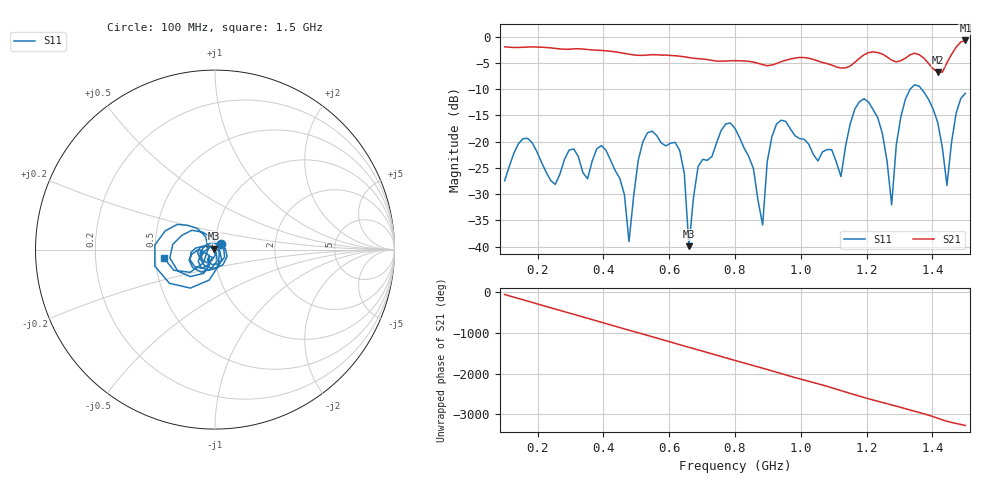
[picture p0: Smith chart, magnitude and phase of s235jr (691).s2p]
! NanoVNA-App
! Date: 2025-09-25 15:09:33
! Start: 100MHz Stop: 1,5GHz Points: 101
! S-Parameter data: F S11 S21 S12 S22
# Hz S RI R 50
!  Frequency  S11_Real  S11_Imag  S21_Real  S21_Imag  S12_Real  S12_Imag  S22_Real  S22_Imag
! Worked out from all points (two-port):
!   101 points, 100 MHz to 1.5 GHz, reference 50 ohm
!   highest |S21| = -0.75 dB at 1.5 GHz (marker M1); lowest = -6.8 dB at 1.416 GHz (marker M2)
!   |S21| within 3 dB of the highest: start of sweep to 633.1 MHz; 1.186 GHz to 1.259 GHz (72.36 MHz wide, 5.92 % of centre) (the widest 2 of 4)
!   lowest |S11| = -39.9 dB at 660 MHz (marker M3), VSWR 1.02, Z = 49.2 + j0.594 ohm
!   |S11| at or under -10 dB: start of sweep to 1.332 GHz; 1.367 GHz to end of sweep
!   S12 and S22 are empty: the file has one direction only
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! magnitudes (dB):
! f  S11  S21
! 100 MHz  -27.5  -2.0
! 156 MHz  -19.4  -2.0
! 338 MHz  -25.9  -2.4
! 408 MHz  -21.6  -2.7
! 478 MHz  -39.0  -3.4
! 520 MHz  -20.1  -3.6
! 576 MHz  -20.3  -3.5
! 632 MHz  -21.7  -3.7
! 660 MHz  -39.9  -4.0
! 688 MHz  -24.7  -4.2
! 800 MHz  -17.5  -4.6
! 884 MHz  -35.9  -5.4
! 926 MHz  -16.7  -5.1
! 1.038 GHz  -22.5  -4.4
! 1.122 GHz  -26.7  -6.0
! 1.192 GHz  -11.8  -3.5
! 1.248 GHz  -18.5  -3.3
! 1.276 GHz  -32.0  -4.5
! 1.332 GHz  -10.0  -3.5
! 1.416 GHz  -16.4  -6.8
! 1.444 GHz  -28.4  -5.0
! 1.5 GHz  -10.8  -0.8
